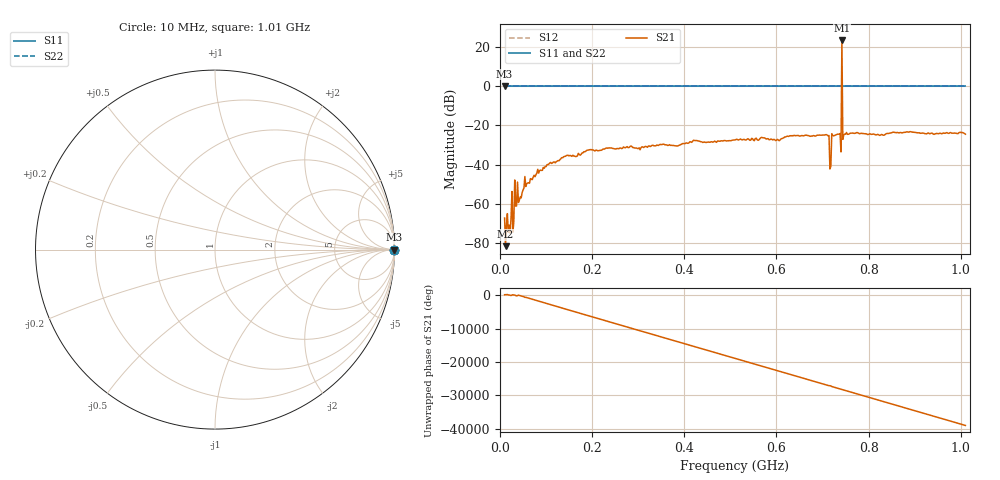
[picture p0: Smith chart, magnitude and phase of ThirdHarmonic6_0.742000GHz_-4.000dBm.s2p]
! 8/16/2025 12:49:22 AM
! C:\ANRITSUVNA\TEMP\TEMP.S2P
! CHANNEL.1
! TR.MEASUREMENT
! RAW.DATA
! RF.CORRECTION.OFF
! AVERAGING.OFF
! IF.BANDWIDTH: 5KHZ
! SWEEPTYPE:  FREQ.SWEEP(Linear)
! Reference Plane Port Info
! PORT:  PORT1  PORT2
! DISTANCE:  0  m  0  m
! TIME:  0  s  0  s
! PHASE.OFFSET:  0  deg.  0  deg.
! LOSS:  0  dB  0  dB
! REF.LOSS:  0  dB  0  dB
! REF.FREQ:  0  Hz  0  Hz
! Power Info
! POWER:  -20  dBm  -20  dBm
! EFF.POWER:  -20  dBm  -20  dBm
! SOURCE.ATTEN:  0  dB  0  dB
! TEST.ATTEN:  0  dB  0  dB
# GHZ S RI R 50.0
! FREQ.GHZ  S11RE  S11IM  S21RE  S21IM  S12RE  S12IM  S22RE  S22IM
!; PortSelection: Port_12
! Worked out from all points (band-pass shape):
!   501 points, 10 MHz to 1.01 GHz, reference 50 ohm
!   highest |S21| = 23.11 dB at 742 MHz (marker M1); lowest = -81.5 dB at 12 MHz (marker M2)
!   |S21| within 3 dB of the highest: 741.8941 MHz to 742.1193 MHz (225.2 kHz wide, 0.0303 % of centre)
!   lowest |S11| = 0.0 dB at 10 MHz (marker M3)
!   |S11| at or under -10 dB: nowhere
!   |S22| runs from 0.0 to 0.0 dB; largest |S21 - S12| = 15
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0.01  1 0  -0.000429 8.89e-05  1 0  1 0
0.012  1 0  -8.03e-05 2.61e-05  1 0  1 0
0.026  1 0  0.000546 0.00199  1 0  1 0
0.036  1 0  -0.000785 -0.000426  1 0  1 0
0.044  1 0  -0.000204 -0.0015  1 0  1 0
0.056  1 0  -0.000898 0.00262  1 0  1 0
0.084  1 0  0.00471 0.00388  1 0  1 0
0.178  1 0  -0.0192 -0.00468  1 0  1 0
0.344  1 0  0.03 -0.00665  1 0  1 0
0.51  1 0  -0.0396 0.0151  1 0  1 0
0.678  1 0  -0.0236 -0.0476  1 0  1 0
0.71  1 0  0.0485 0.0288  1 0  1 0
0.714  1 0  -0.0328 -0.0439  1 0  1 0
0.72  1 0  0.0604 -0.0075  1 0  1 0
0.724  1 0  -0.0527 -0.00922  1 0  1 0
0.736  1 0  0.0226 0.0551  1 0  1 0
0.738  1 0  0.0603 -0.012  1 0  1 0
0.742  1 0  -13.84 3.59  1 0  1 0
0.746  1 0  0.0512 0.024  1 0  1 0
0.748  1 0  0.034 -0.0493  1 0  1 0
0.844  1 0  0.0448 0.0428  1 0  1 0
1.01  1 0  -0.0576 -0.0142  1 0  1 0
